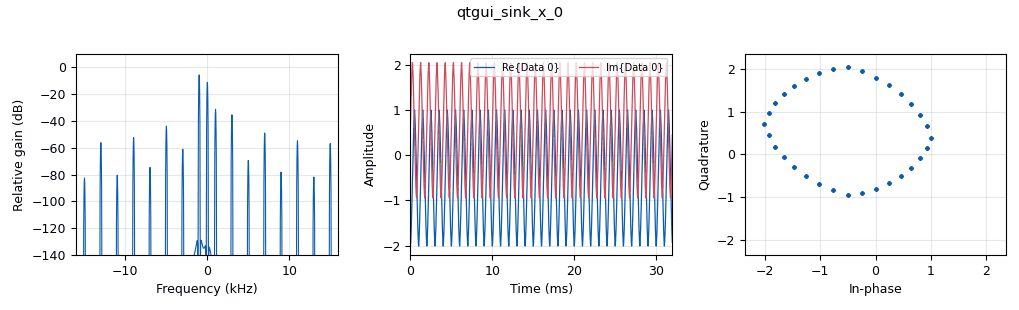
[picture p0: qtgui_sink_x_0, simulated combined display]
<?xml version='1.0' encoding='utf-8'?>
<?grc format='1' created='3.7.11'?>
<flow_graph>
<block>
<key>options</key>
<param><key>id</key><value>top_block</value></param>
<param><key>generate_options</key><value>qt_gui</value></param>
</block>
<block>
<key>variable</key>
<param><key>id</key><value>iq_imb_mag</value></param>
<param><key>value</key><value>0.09</value></param>
</block>
<block>
<key>variable</key>
<param><key>id</key><value>iq_imb_phase</value></param>
<param><key>value</key><value>174</value></param>
</block>
<block>
<key>variable</key>
<param><key>id</key><value>noise_amp</value></param>
<param><key>value</key><value>0.0</value></param>
</block>
<block>
<key>variable</key>
<param><key>id</key><value>samp_rate</value></param>
<param><key>value</key><value>32000</value></param>
</block>
<block>
<key>analog_noise_source_x</key>
<param><key>id</key><value>analog_noise_source_x_0</value></param>
<param><key>amp</key><value>noise_amp</value></param>
<param><key>noise_type</key><value>analog.GR_GAUSSIAN</value></param>
<param><key>type</key><value>complex</value></param>
<param><key>seed</key><value>0</value></param>
</block>
<block>
<key>analog_sig_source_x</key>
<param><key>id</key><value>analog_sig_source_x_0</value></param>
<param><key>amp</key><value>1</value></param>
<param><key>freq</key><value>1000</value></param>
<param><key>offset</key><value>0</value></param>
<param><key>type</key><value>complex</value></param>
<param><key>samp_rate</key><value>samp_rate</value></param>
<param><key>waveform</key><value>analog.GR_COS_WAVE</value></param>
</block>
<block>
<key>analog_sig_source_x</key>
<param><key>id</key><value>analog_sig_source_x_1</value></param>
<param><key>amp</key><value>1</value></param>
<param><key>freq</key><value>1000</value></param>
<param><key>offset</key><value>0</value></param>
<param><key>type</key><value>complex</value></param>
<param><key>samp_rate</key><value>samp_rate</value></param>
<param><key>waveform</key><value>analog.GR_TRI_WAVE</value></param>
</block>
<block>
<key>blocks_add_xx</key>
<param><key>id</key><value>blocks_add_xx_0</value></param>
<param><key>type</key><value>complex</value></param>
</block>
<block>
<key>blocks_add_xx</key>
<param><key>id</key><value>blocks_add_xx_1</value></param>
<param><key>type</key><value>complex</value></param>
</block>
<block>
<key>blocks_file_sink</key>
<param><key>id</key><value>blocks_file_sink_0</value></param>
<param><key>file</key><value>/media/ericmiers/Grad School Data/Research/Data/Simulated Signals/dev_3/signal5_cos1k_triangle1k/0.09_174_0.data</value></param>
<param><key>type</key><value>complex</value></param>
</block>
<block>
<key>channels_iqbal_gen</key>
<param><key>id</key><value>channels_iqbal_gen_0</value></param>
<param><key>mag</key><value>iq_imb_mag</value></param>
<param><key>phase</key><value>iq_imb_phase</value></param>
</block>
<block>
<key>qtgui_sink_x</key>
<param><key>id</key><value>qtgui_sink_x_0</value></param>
<param><key>bw</key><value>samp_rate</value></param>
<param><key>fc</key><value>0</value></param>
<param><key>freqchangevar</key><value>None</value></param>
<param><key>fftsize</key><value>1024</value></param>
<param><key>showports</key><value>True</value></param>
<param><key>type</key><value>complex</value></param>
<param><key>wintype</key><value>firdes.WIN_BLACKMAN_hARRIS</value></param>
</block>
<connection><source_block_id>analog_noise_source_x_0</source_block_id><sink_block_id>blocks_add_xx_0</sink_block_id><source_key>0</source_key><sink_key>1</sink_key></connection>
<connection><source_block_id>analog_sig_source_x_0</source_block_id><sink_block_id>blocks_add_xx_1</sink_block_id><source_key>0</source_key><sink_key>0</sink_key></connection>
<connection><source_block_id>analog_sig_source_x_1</source_block_id><sink_block_id>blocks_add_xx_1</sink_block_id><source_key>0</source_key><sink_key>1</sink_key></connection>
<connection><source_block_id>blocks_add_xx_0</source_block_id><sink_block_id>blocks_file_sink_0</sink_block_id><source_key>0</source_key><sink_key>0</sink_key></connection>
<connection><source_block_id>blocks_add_xx_0</source_block_id><sink_block_id>qtgui_sink_x_0</sink_block_id><source_key>0</source_key><sink_key>0</sink_key></connection>
<connection><source_block_id>blocks_add_xx_1</source_block_id><sink_block_id>channels_iqbal_gen_0</sink_block_id><source_key>0</source_key><sink_key>0</sink_key></connection>
<connection><source_block_id>channels_iqbal_gen_0</source_block_id><sink_block_id>blocks_add_xx_0</sink_block_id><source_key>0</source_key><sink_key>0</sink_key></connection>
</flow_graph>
